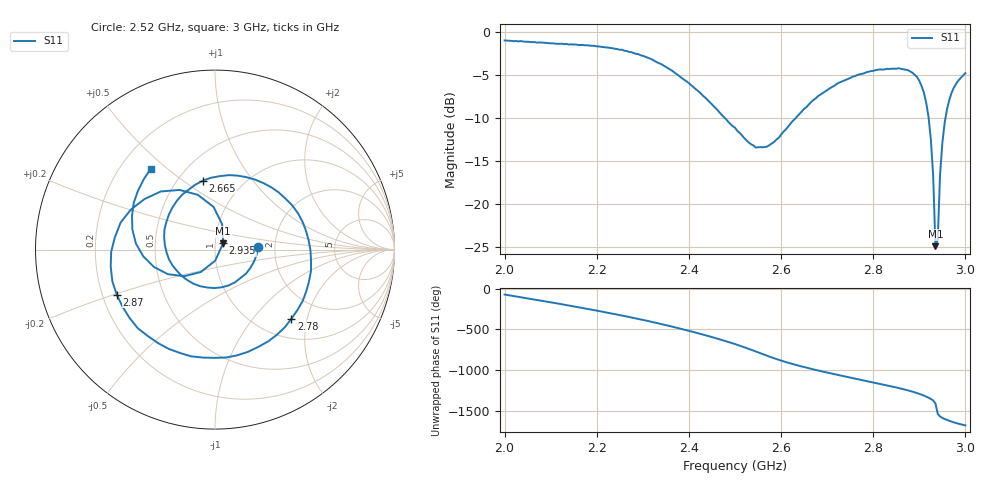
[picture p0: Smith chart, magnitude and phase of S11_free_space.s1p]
!Agilent Technologies,E8363A,US42130174,A.06.04.32
!Agilent E8363A: A.06.04.32
!Date: Tuesday, November 28, 2023 16:33:00
!Correction: S11(Full 1 Port(1))
!S1P File: Measurement: S11:
# Hz S  RI  R 50
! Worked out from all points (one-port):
!   201 points, 2 GHz to 3 GHz, reference 50 ohm
!   lowest |S11| = -24.9 dB at 2.935 GHz (marker M1), VSWR 1.12, Z = 54.6 + j3.8 ohm
!   |S11| at or under -10 dB: 2.478 GHz to 2.632 GHz (154.5 MHz wide, 6.05 % of centre); 2.92 GHz to 2.957 GHz (36.66 MHz wide, 1.25 % of centre)
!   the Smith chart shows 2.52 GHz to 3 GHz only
!   S11 on the Smith chart (normalised r, x): 2.52 GHz: 1.63, +0.04; 2.665 GHz: 0.66, +0.60; 2.78 GHz: 1.41, -1.61; 2.87 GHz: 0.26, -0.20; 2.935 GHz: 1.09, +0.08; 3 GHz: 0.33, +0.44
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2e9  0.2509 -0.8544
2.05e9  -0.4357 -0.7595
2.085e9  -0.7742 -0.3845
2.125e9  -0.8301 0.193
2.195e9  -0.0768 0.8255
2.25e9  0.6389 0.4574
2.29e9  0.7294 -0.1367
2.325e9  0.3991 -0.5481
2.375e9  -0.2885 -0.485
2.41e9  -0.4714 -0.0744
2.445e9  -0.2775 0.2748
2.5e9  0.2058 0.1857
2.52e9  0.2412 0.0129
2.57e9  -0.0427 -0.2112
2.625e9  -0.2816 0.1116
2.665e9  -0.0662 0.3844
2.705e9  0.3133 0.3474
2.75e9  0.5349 -0.0607
2.78e9  0.4261 -0.3845
2.83e9  -0.1322 -0.5948
2.87e9  -0.5473 -0.2506
2.875e9  -0.5716 -0.1781
2.895e9  -0.5252 0.1518
2.92e9  -0.0958 0.3051
2.93e9  0.0398 0.1413
2.935e9  0.045 0.0347
2.96e9  -0.3403 -0.0966
3e9  -0.3589 0.449
